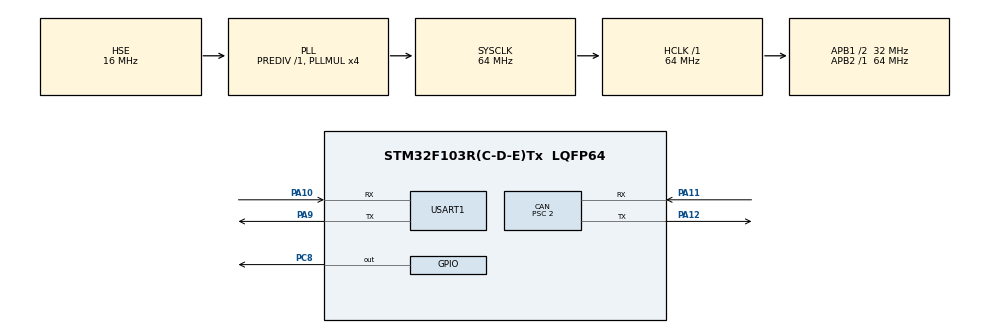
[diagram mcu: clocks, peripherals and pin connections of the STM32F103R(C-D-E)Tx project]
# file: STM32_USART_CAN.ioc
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CAN.BS1=CAN_BS1_13TQ
CAN.BS2=CAN_BS2_2TQ
CAN.CalculateTimeBit=1000
CAN.CalculateTimeQuantum=62.5
CAN.Mode=CAN_MODE_LOOPBACK
CAN.Prescaler=2
Mcu.Family=STM32F1
Mcu.Name=STM32F103R(C-D-E)Tx
Mcu.Package=LQFP64
NVIC.PriorityGroup=NVIC_PRIORITYGROUP_4
NVIC.USART1_IRQn=true\:0\:0\:false\:false\:true\:true\:true
PA10.Mode=Asynchronous
PA10.Signal=USART1_RX
PA11.Mode=Master
PA11.Signal=CAN_RX
PA12.Mode=Master
PA12.Signal=CAN_TX
PA13.Mode=Serial_Wire
PA13.Signal=SYS_JTMS-SWDIO
PA14.Mode=Serial_Wire
PA14.Signal=SYS_JTCK-SWCLK
PA9.Mode=Asynchronous
PA9.Signal=USART1_TX
PC8.GPIO_PuPd=GPIO_PULLDOWN
PC8.PinState=GPIO_PIN_RESET
PC8.Signal=GPIO_Output
PD0-OSC_IN.Mode=HSE-External-Oscillator
PD0-OSC_IN.Signal=RCC_OSC_IN
PD1-OSC_OUT.Mode=HSE-External-Oscillator
PD1-OSC_OUT.Signal=RCC_OSC_OUT
ProjectManager.HeapSize=0x200
ProjectManager.StackSize=0x400
ProjectManager.TargetToolchain=MDK-ARM V5.27
RCC.AHBFreq_Value=64000000
RCC.APB1CLKDivider=RCC_HCLK_DIV2
RCC.APB1Freq_Value=32000000
RCC.APB1TimFreq_Value=64000000
RCC.APB2Freq_Value=64000000
RCC.APB2TimFreq_Value=64000000
RCC.HCLKFreq_Value=64000000
RCC.HSE_VALUE=16000000
RCC.PLLMUL=RCC_PLL_MUL4
RCC.PLLSourceVirtual=RCC_PLLSOURCE_HSE
RCC.SYSCLKFreq_VALUE=64000000
RCC.SYSCLKSource=RCC_SYSCLKSOURCE_PLLCLK
RCC.USBFreq_Value=64000000
USART1.VirtualMode=VM_ASYNC
board=custom

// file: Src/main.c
/* USER CODE BEGIN Header */
/**
  ******************************************************************************
  * @file           : main.c
  * @brief          : Main program body
  ******************************************************************************
  * @attention
  *
  * <h2><center>&copy; Copyright (c) 2021 STMicroelectronics.
  * All rights reserved.</center></h2>
  *
  * This software component is licensed by ST under BSD 3-Clause license,
  * the "License"; You may not use this file except in compliance with the
  * License. You may obtain a copy of the License at:
  *                        opensource.org/licenses/BSD-3-Clause
  *
  ******************************************************************************
  */
/* USER CODE END Header */

#include "main.h"
#include "can.h"
#include "usart.h"
#include "gpio.h"

/* USER CODE BEGIN Includes */
#include <stdio.h>

/* USER CODE END Includes */

/* USER CODE BEGIN PV */
uint32_t TxMailbox;

uint8_t TxData[8] = {0x10,0x12};
uint8_t RxData[8];

/* USER CODE END PV */

void SystemClock_Config(void);

int main(void)
{

  /* MCU Configuration--------------------------------------------------------*/

  /* Reset of all peripherals, Initializes the Flash interface and the Systick. */
  HAL_Init();

  /* Configure the system clock */
  SystemClock_Config();

  /* Initialize all configured peripherals */
  MX_GPIO_Init();
  MX_CAN_Init();
  MX_USART1_UART_Init();
  /* USER CODE BEGIN 2 */
	//初始化 CAN_TxHeaderTypeDef 发送数据函数
	CAN_TxHeaderTypeDef CAN_TxHeaderSend;

	CAN_TxHeaderSend.StdId = 0x01;
	CAN_TxHeaderSend.ExtId = 0x00;
	CAN_TxHeaderSend.IDE   = CAN_ID_STD;
	CAN_TxHeaderSend.RTR   = CAN_RTR_DATA;
	CAN_TxHeaderSend.DLC   = 8;

	Filter_Init();
	HAL_CAN_Start(&hcan);

  /* USER CODE END 2 */

  /* Infinite loop */
  while (1)
  {
//		HAL_CAN_AddTxMessage(&hcan, &CAN_TxHeaderSend, TxData, &TxMailbox);
//		HAL_Delay(1000);

  }
}

void SystemClock_Config(void)
{
  RCC_OscInitTypeDef RCC_OscInitStruct = {0};
  RCC_ClkInitTypeDef RCC_ClkInitStruct = {0};

  /** Initializes the CPU, AHB and APB busses clocks
  */
  RCC_OscInitStruct.OscillatorType = RCC_OSCILLATORTYPE_HSE;
  RCC_OscInitStruct.HSEState = RCC_HSE_ON;
  RCC_OscInitStruct.HSEPredivValue = RCC_HSE_PREDIV_DIV1;
  RCC_OscInitStruct.HSIState = RCC_HSI_ON;
  RCC_OscInitStruct.PLL.PLLState = RCC_PLL_ON;
  RCC_OscInitStruct.PLL.PLLSource = RCC_PLLSOURCE_HSE;
  RCC_OscInitStruct.PLL.PLLMUL = RCC_PLL_MUL4;
  if (HAL_RCC_OscConfig(&RCC_OscInitStruct) != HAL_OK)
  {
    Error_Handler();
  }
  /** Initializes the CPU, AHB and APB busses clocks
  */
  RCC_ClkInitStruct.ClockType = RCC_CLOCKTYPE_HCLK|RCC_CLOCKTYPE_SYSCLK
                              |RCC_CLOCKTYPE_PCLK1|RCC_CLOCKTYPE_PCLK2;
  RCC_ClkInitStruct.SYSCLKSource = RCC_SYSCLKSOURCE_PLLCLK;
  RCC_ClkInitStruct.AHBCLKDivider = RCC_SYSCLK_DIV1;
  RCC_ClkInitStruct.APB1CLKDivider = RCC_HCLK_DIV2;
  RCC_ClkInitStruct.APB2CLKDivider = RCC_HCLK_DIV1;

  if (HAL_RCC_ClockConfig(&RCC_ClkInitStruct, FLASH_LATENCY_2) != HAL_OK)
  {
    Error_Handler();
  }
}

/* USER CODE BEGIN 4 */
void HAL_CAN_RxFifo0MsgPendingCallback(CAN_HandleTypeDef *hcan)
{
	HAL_CAN_GetRxMessage(hcan, CAN_RX_FIFO0, &CAN_RxHeaderSend, RxData);
	if(RxData[0] == 0x11 && RxData[1] == 0x15)
	{

	}
//	printf(" data content:Data[0] = 0x0%X, Data[1] = 0x0%X \n", RxData[0], RxData[1]);
}

/* USER CODE END 4 */

void Error_Handler(void)
{
}

/************************ (C) COPYRIGHT STMicroelectronics *****END OF FILE****/
